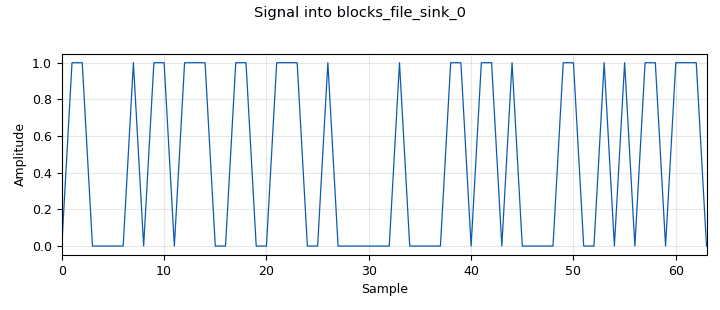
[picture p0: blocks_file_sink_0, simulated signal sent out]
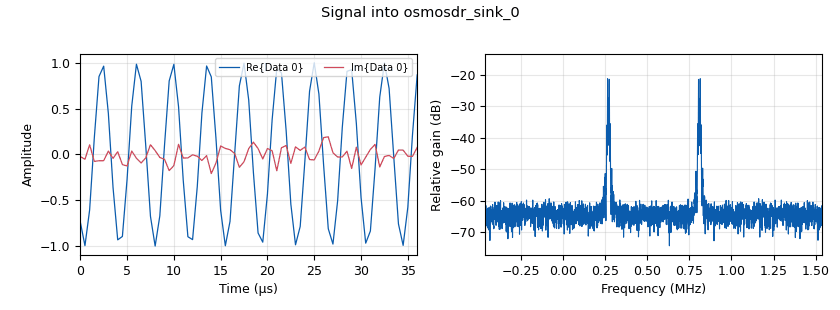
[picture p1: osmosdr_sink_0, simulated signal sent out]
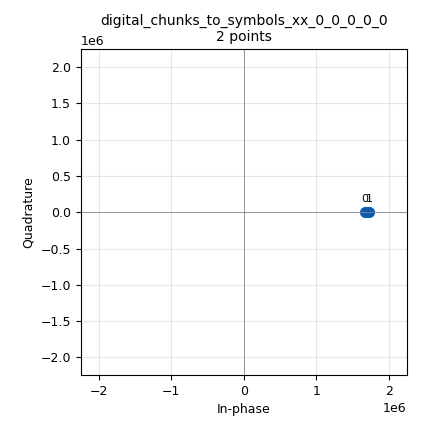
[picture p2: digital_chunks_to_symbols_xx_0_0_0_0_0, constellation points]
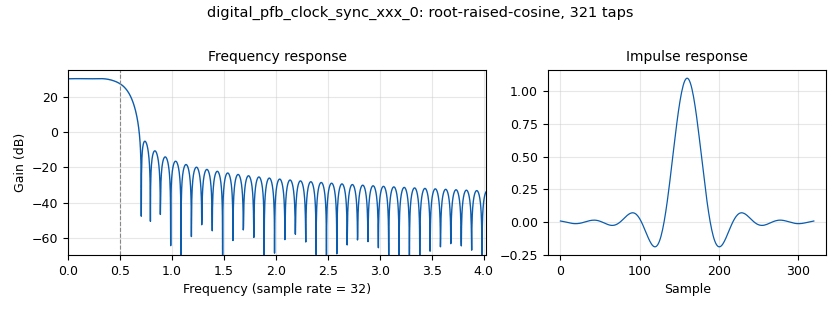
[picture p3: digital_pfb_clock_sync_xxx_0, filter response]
<?xml version='1.0' encoding='utf-8'?>
<?grc format='1' created='3.7.11'?>
<flow_graph>
<block>
<key>options</key>
<param><key>id</key><value>MSK_hackrf3</value></param>
<param><key>generate_options</key><value>qt_gui</value></param>
</block>
<block>
<key>variable</key>
<param><key>id</key><value>EBW</value></param>
<param><key>value</key><value>0.35</value></param>
</block>
<block>
<key>variable_rrc_filter_taps</key>
<param><key>id</key><value>RRC_filter_taps</value></param>
<param><key>comment</key><value>Root raised cosine definition.</value></param>
<param><key>alpha</key><value>EBW</value></param>
<param><key>gain</key><value>nfilts</value></param>
<param><key>ntaps</key><value>5*SPS*nfilts/RX_decimation</value></param>
<param><key>samp_rate</key><value>nfilts</value></param>
<param><key>sym_rate</key><value>1.0</value></param>
</block>
<block>
<key>variable</key>
<param><key>id</key><value>RX_decimation</value></param>
<param><key>comment</key><value>receiver
decimation 
factor</value></param>
<param><key>value</key><value>100</value></param>
</block>
<block>
<key>variable</key>
<param><key>id</key><value>SPS</value></param>
<param><key>comment</key><value>Samples 
per signal</value></param>
<param><key>value</key><value>int(samp_rate/fsk_deviation_hz/4)*int(index_num)</value></param>
</block>
<block>
<key>variable</key>
<param><key>id</key><value>carrier_freq</value></param>
<param><key>comment</key><value>Audio carrier frequency</value></param>
<param><key>value</key><value>270e3</value></param>
</block>
<block>
<key>variable</key>
<param><key>id</key><value>fsk_deviation_hz</value></param>
<param><key>comment</key><value>Frequency deviation of 
GFSK modulation</value></param>
<param><key>value</key><value>0.5e4</value></param>
</block>
<block>
<key>variable</key>
<param><key>id</key><value>index_num</value></param>
<param><key>value</key><value>2</value></param>
</block>
<block>
<key>variable</key>
<param><key>id</key><value>message</value></param>
<param><key>value</key><value>"This is the FSK test developed By Yifang Chen"</value></param>
</block>
<block>
<key>variable</key>
<param><key>id</key><value>nfilts</value></param>
<param><key>value</key><value>32</value></param>
</block>
<block>
<key>variable</key>
<param><key>id</key><value>noise_amp</value></param>
<param><key>value</key><value>0.1</value></param>
</block>
<block>
<key>variable_qtgui_range</key>
<param><key>id</key><value>offset_freq</value></param>
<param><key>value</key><value>5050</value></param>
<param><key>orient</key><value>Qt.Horizontal</value></param>
<param><key>start</key><value>-20e3</value></param>
<param><key>step</key><value>1e3</value></param>
<param><key>stop</key><value>20e3</value></param>
</block>
<block>
<key>variable</key>
<param><key>id</key><value>samp_rate</value></param>
<param><key>comment</key><value>Sample rate - 
determines BW
of transmitter and receiver.
This should be larger
than BW of signal itself.</value></param>
<param><key>value</key><value>2e6</value></param>
</block>
<block>
<key>analog_feedforward_agc_cc</key>
<param><key>id</key><value>analog_feedforward_agc_cc_0</value></param>
<param><key>comment</key><value>Optional 
AGC</value></param>
<param><key>num_samples</key><value>1024</value></param>
<param><key>reference</key><value>1.0</value></param>
</block>
<block>
<key>analog_noise_source_x</key>
<param><key>id</key><value>analog_noise_source_x_0</value></param>
<param><key>amp</key><value>noise_amp</value></param>
<param><key>noise_type</key><value>analog.GR_GAUSSIAN</value></param>
<param><key>type</key><value>float</value></param>
<param><key>seed</key><value>0</value></param>
</block>
<block>
<key>analog_pwr_squelch_xx</key>
<param><key>id</key><value>analog_pwr_squelch_xx_0_0</value></param>
<param><key>alpha</key><value>.01</value></param>
<param><key>comment</key><value>Optional power
squelch</value></param>
<param><key>gate</key><value>True</value></param>
<param><key>ramp</key><value>0</value></param>
<param><key>threshold</key><value>-60</value></param>
<param><key>type</key><value>complex</value></param>
</block>
<block>
<key>analog_quadrature_demod_cf</key>
<param><key>id</key><value>analog_quadrature_demod_cf_0</value></param>
<param><key>comment</key><value>FSK demod</value></param>
<param><key>gain</key><value>samp_rate/(2*math.pi*fsk_deviation_hz/8.0)/(RX_decimation)</value></param>
</block>
<block>
<key>analog_sig_source_x</key>
<param><key>id</key><value>analog_sig_source_x_0</value></param>
<param><key>amp</key><value>1</value></param>
<param><key>freq</key><value>-carrier_freq+offset_freq*0</value></param>
<param><key>offset</key><value>0</value></param>
<param><key>type</key><value>complex</value></param>
<param><key>samp_rate</key><value>samp_rate</value></param>
<param><key>waveform</key><value>analog.GR_COS_WAVE</value></param>
</block>
<block>
<key>blocks_file_sink</key>
<param><key>id</key><value>blocks_file_sink_0</value></param>
<param><key>file</key><value>test_in</value></param>
<param><key>type</key><value>byte</value></param>
</block>
<block>
<key>blocks_file_sink</key>
<param><key>id</key><value>blocks_file_sink_0_0</value></param>
<param><key>file</key><value>test_out</value></param>
<param><key>type</key><value>byte</value></param>
</block>
<block>
<key>blocks_float_to_complex</key>
<param><key>id</key><value>blocks_float_to_complex_0</value></param>
</block>
<block>
<key>blocks_head</key>
<param><key>id</key><value>blocks_head_0</value></param>
<param><key>num_items</key><value>len(message)*8*20</value></param>
<param><key>type</key><value>byte</value></param>
</block>
<block>
<key>blocks_head</key>
<param><key>id</key><value>blocks_head_0_0</value></param>
<param><key>num_items</key><value>len(message)*8*20</value></param>
<param><key>type</key><value>byte</value></param>
</block>
<block>
<key>blocks_message_debug</key>
<param><key>id</key><value>blocks_message_debug_0_0</value></param>
<param><key>comment</key><value>Display the message that was sent.</value></param>
</block>
<block>
<key>blocks_message_strobe</key>
<param><key>id</key><value>blocks_message_strobe_0</value></param>
<param><key>msg</key><value>pmt.intern(message)</value></param>
<param><key>period</key><value>1000</value></param>
</block>
<block>
<key>blocks_multiply_xx</key>
<param><key>id</key><value>blocks_multiply_xx_1</value></param>
<param><key>comment</key><value>Perform frequency 
translation (down convert)</value></param>
<param><key>type</key><value>complex</value></param>
</block>
<block>
<key>blocks_pdu_to_tagged_stream</key>
<param><key>id</key><value>blocks_pdu_to_tagged_stream_1</value></param>
<param><key>type</key><value>byte</value></param>
<param><key>tag</key><value>len_key</value></param>
</block>
<block>
<key>blocks_repack_bits_bb</key>
<param><key>id</key><value>blocks_repack_bits_bb_0</value></param>
<param><key>k</key><value>8</value></param>
<param><key>l</key><value>1</value></param>
<param><key>endianness</key><value>gr.GR_MSB_FIRST</value></param>
<param><key>len_tag_key</key><value>len_key</value></param>
</block>
<block>
<key>blocks_repack_bits_bb</key>
<param><key>id</key><value>blocks_repack_bits_bb_0_0</value></param>
<param><key>k</key><value>8</value></param>
<param><key>l</key><value>1</value></param>
<param><key>endianness</key><value>gr.GR_MSB_FIRST</value></param>
<param><key>len_tag_key</key><value>len_key</value></param>
</block>
<block>
<key>blocks_repack_bits_bb</key>
<param><key>id</key><value>blocks_repack_bits_bb_0_0_0_0</value></param>
<param><key>k</key><value>1</value></param>
<param><key>l</key><value>8</value></param>
<param><key>comment</key><value>Tagged Stream to PDU block up ahead needs packed bytes</value></param>
<param><key>endianness</key><value>gr.GR_MSB_FIRST</value></param>
<param><key>len_tag_key</key><value>len_key2</value></param>
</block>
<block>
<key>blocks_repeat</key>
<param><key>id</key><value>blocks_repeat_0_0_0_0</value></param>
<param><key>comment</key><value>Establish number of
samples per symbol</value></param>
<param><key>interp</key><value>SPS-1</value></param>
<param><key>type</key><value>float</value></param>
</block>
<block>
<key>blocks_stream_to_tagged_stream</key>
<param><key>id</key><value>blocks_stream_to_tagged_stream_0</value></param>
<param><key>comment</key><value>Determine length 
of preamble.</value></param>
<param><key>len_tag_key</key><value>len_key</value></param>
<param><key>packet_len</key><value>200</value></param>
<param><key>type</key><value>byte</value></param>
</block>
<block>
<key>blocks_tagged_stream_mux</key>
<param><key>id</key><value>blocks_tagged_stream_mux_0</value></param>
<param><key>comment</key><value>Append header to payload</value></param>
<param><key>type</key><value>byte</value></param>
<param><key>lengthtagname</key><value>len_key</value></param>
<param><key>ninputs</key><value>2</value></param>
</block>
<block>
<key>blocks_tagged_stream_mux</key>
<param><key>id</key><value>blocks_tagged_stream_mux_1</value></param>
<param><key>comment</key><value>Append preamble to
main message.</value></param>
<param><key>type</key><value>byte</value></param>
<param><key>lengthtagname</key><value>len_key</value></param>
<param><key>ninputs</key><value>2</value></param>
</block>
<block>
<key>blocks_tagged_stream_to_pdu</key>
<param><key>id</key><value>blocks_tagged_stream_to_pdu_0_0</value></param>
<param><key>type</key><value>byte</value></param>
<param><key>tag</key><value>len_key2</value></param>
</block>
<block>
<key>blocks_throttle</key>
<param><key>id</key><value>blocks_throttle_1</value></param>
<param><key>samples_per_second</key><value>samp_rate</value></param>
<param><key>type</key><value>complex</value></param>
</block>
<block>
<key>blocks_vco_f</key>
<param><key>id</key><value>blocks_vco_f_0_0_0_0</value></param>
<param><key>amplitude</key><value>1</value></param>
<param><key>comment</key><value>FSK modulation</value></param>
<param><key>samp_rate</key><value>samp_rate</value></param>
<param><key>sensitivity</key><value>1</value></param>
</block>
<block>
<key>blocks_vector_source_x</key>
<param><key>id</key><value>blocks_vector_source_x_0</value></param>
<param><key>comment</key><value>Create 1,0,1,0,...
repeate preamble</value></param>
<param><key>type</key><value>byte</value></param>
<param><key>repeat</key><value>True</value></param>
<param><key>vector</key><value>(1,0)</value></param>
</block>
<block>
<key>digital_binary_slicer_fb</key>
<param><key>id</key><value>digital_binary_slicer_fb_0</value></param>
</block>
<block>
<key>digital_chunks_to_symbols_xx</key>
<param><key>id</key><value>digital_chunks_to_symbols_xx_0_0_0_0_0</value></param>
<param><key>comment</key><value>Binary 1's and 0's to symbols.</value></param>
<param><key>dimension</key><value>1</value></param>
<param><key>in_type</key><value>byte</value></param>
<param><key>out_type</key><value>float</value></param>
<param><key>symbol_table</key><value>(2*3.14*carrier_freq-2*3.14*fsk_deviation_hz,2*3.14*carrier_freq+2*3.14*fsk_deviation_hz)</value></param>
</block>
<block>
<key>digital_correlate_access_code_xx_ts</key>
<param><key>id</key><value>digital_correlate_access_code_xx_ts_1_0_0</value></param>
<param><key>access_code</key><value>digital.packet_utils.default_access_code</value></param>
<param><key>comment</key><value>Correlates with access code to extract the payload.</value></param>
<param><key>type</key><value>byte</value></param>
<param><key>tagname</key><value>len_key2</value></param>
<param><key>threshold</key><value>10</value></param>
</block>
<block>
<key>digital_pfb_clock_sync_xxx</key>
<param><key>id</key><value>digital_pfb_clock_sync_xxx_0</value></param>
<param><key>comment</key><value>Clock sync</value></param>
<param><key>filter_size</key><value>nfilts</value></param>
<param><key>init_phase</key><value>nfilts/2</value></param>
<param><key>loop_bw</key><value>6.28/400.0*2/70</value></param>
<param><key>max_dev</key><value>2</value></param>
<param><key>osps</key><value>1</value></param>
<param><key>sps</key><value>SPS/RX_decimation</value></param>
<param><key>taps</key><value>RRC_filter_taps</value></param>
<param><key>type</key><value>fff</value></param>
</block>
<block>
<key>digital_protocol_formatter_bb</key>
<param><key>id</key><value>digital_protocol_formatter_bb_0</value></param>
<param><key>comment</key><value>Generate header</value></param>
<param><key>format</key><value>hdr_format</value></param>
<param><key>len_tag_key</key><value>len_key</value></param>
</block>
<block>
<key>epy_block</key>
<param><key>id</key><value>epy_block_0</value></param>
<param><key>_source_code</key><value>"""
Embedded Python Blocks:

Each time this file is saved, GRC will instantiate the first class it finds
to get ports and parameters of your block. The arguments to __init__  will
be the parameters. All of them are required to have default values!
"""

import numpy as np
from gnuradio import gr
import pmt


class msg_block(gr.basic_block):  # other base classes are basic_block, decim_block, interp_block
    """Convert strings to uint8 vectors"""

    def __init__(self):  # only default arguments here
        """arguments to this function show up as parameters in GRC"""
        gr.basic_block.__init__(
            self,
            name='Embedded Python Block',   # will show up in GRC
            in_sig=None,
            out_sig=None
        )
        self.message_port_register_out(pmt.intern('msg_out'))
        self.message_port_register_in(pmt.intern('msg_in'))
        self.set_msg_handler(pmt.intern('msg_in'), self.handle_msg)
    
    def handle_msg(self, msg):
    
        nvec = pmt.to_python(msg)

        self.message_port_pub(pmt.intern('msg_out'), pmt.cons(pmt.make_dict(), pmt.pmt_to_python.numpy_to_uvector(np.array([ord(c) for c in nvec], np.uint8))))
    
    
    def work(self, input_items, output_items):
        pass
</value></param>
<param><key>comment</key><value>Convert strings from previous block
to uint8 vectors</value></param>
</block>
<block>
<key>parameter</key>
<param><key>id</key><value>hdr_format</value></param>
<param><key>comment</key><value>Header format definition</value></param>
<param><key>label</key><value>Header Formatter</value></param>
<param><key>value</key><value>digital.header_format_default(digital.packet_utils.default_access_code, 0)</value></param>
</block>
<block>
<key>import</key>
<param><key>id</key><value>import_0</value></param>
<param><key>comment</key><value>Custom Embedded
Python Block uses 
this library.</value></param>
<param><key>import</key><value>import numpy</value></param>
</block>
<block>
<key>osmosdr_sink</key>
<param><key>id</key><value>osmosdr_sink_0</value></param>
<param><key>bb_gain0</key><value>16</value></param>
<param><key>freq0</key><value>carrier_freq*2</value></param>
<param><key>if_gain0</key><value>16</value></param>
<param><key>gain0</key><value>1</value></param>
<param><key>args</key><value>hackrf=232a2c5f</value></param>
<param><key>type</key><value>fc32</value></param>
<param><key>sample_rate</key><value>samp_rate</value></param>
<param><key>sync</key><value></value></param>
</block>
<block>
<key>osmosdr_source</key>
<param><key>id</key><value>osmosdr_source_0</value></param>
<param><key>bb_gain0</key><value>16</value></param>
<param><key>freq0</key><value>carrier_freq*2</value></param>
<param><key>gain_mode0</key><value>False</value></param>
<param><key>if_gain0</key><value>16</value></param>
<param><key>gain0</key><value>1</value></param>
<param><key>args</key><value>hackrf=2226255f</value></param>
<param><key>type</key><value>fc32</value></param>
<param><key>sample_rate</key><value>samp_rate</value></param>
<param><key>sync</key><value></value></param>
</block>
<block>
<key>qtgui_freq_sink_x</key>
<param><key>id</key><value>qtgui_freq_sink_x_0</value></param>
<param><key>bw</key><value>samp_rate</value></param>
<param><key>fc</key><value>0</value></param>
<param><key>fftsize</key><value>1024</value></param>
<param><key>showports</key><value>True</value></param>
<param><key>type</key><value>complex</value></param>
<param><key>wintype</key><value>firdes.WIN_BLACKMAN_hARRIS</value></param>
</block>
<block>
<key>rational_resampler_xxx</key>
<param><key>id</key><value>rational_resampler_xxx_0_0</value></param>
<param><key>decim</key><value>RX_decimation</value></param>
<param><key>interp</key><value>1</value></param>
<param><key>taps</key><value></value></param>
<param><key>type</key><value>ccc</value></param>
</block>
<connection><source_block_id>analog_feedforward_agc_cc_0</source_block_id><sink_block_id>analog_quadrature_demod_cf_0</sink_block_id><source_key>0</source_key><sink_key>0</sink_key></connection>
<connection><source_block_id>analog_noise_source_x_0</source_block_id><sink_block_id>blocks_float_to_complex_0</sink_block_id><source_key>0</source_key><sink_key>1</sink_key></connection>
<connection><source_block_id>analog_pwr_squelch_xx_0_0</source_block_id><sink_block_id>analog_feedforward_agc_cc_0</sink_block_id><source_key>0</source_key><sink_key>0</sink_key></connection>
<connection><source_block_id>analog_quadrature_demod_cf_0</source_block_id><sink_block_id>digital_pfb_clock_sync_xxx_0</sink_block_id><source_key>0</source_key><sink_key>0</sink_key></connection>
<connection><source_block_id>analog_sig_source_x_0</source_block_id><sink_block_id>blocks_throttle_1</sink_block_id><source_key>0</source_key><sink_key>0</sink_key></connection>
<connection><source_block_id>blocks_float_to_complex_0</source_block_id><sink_block_id>osmosdr_sink_0</sink_block_id><source_key>0</source_key><sink_key>0</sink_key></connection>
<connection><source_block_id>blocks_head_0</source_block_id><sink_block_id>blocks_file_sink_0</sink_block_id><source_key>0</source_key><sink_key>0</sink_key></connection>
<connection><source_block_id>blocks_head_0_0</source_block_id><sink_block_id>blocks_file_sink_0_0</sink_block_id><source_key>0</source_key><sink_key>0</sink_key></connection>
<connection><source_block_id>blocks_message_strobe_0</source_block_id><sink_block_id>epy_block_0</sink_block_id><source_key>strobe</source_key><sink_key>msg_in</sink_key></connection>
<connection><source_block_id>blocks_multiply_xx_1</source_block_id><sink_block_id>rational_resampler_xxx_0_0</sink_block_id><source_key>0</source_key><sink_key>0</sink_key></connection>
<connection><source_block_id>blocks_pdu_to_tagged_stream_1</source_block_id><sink_block_id>blocks_repack_bits_bb_0_0</sink_block_id><source_key>0</source_key><sink_key>0</sink_key></connection>
<connection><source_block_id>blocks_pdu_to_tagged_stream_1</source_block_id><sink_block_id>blocks_tagged_stream_mux_0</sink_block_id><source_key>0</source_key><sink_key>1</sink_key></connection>
<connection><source_block_id>blocks_pdu_to_tagged_stream_1</source_block_id><sink_block_id>digital_protocol_formatter_bb_0</sink_block_id><source_key>0</source_key><sink_key>0</sink_key></connection>
<connection><source_block_id>blocks_repack_bits_bb_0</source_block_id><sink_block_id>blocks_tagged_stream_mux_1</sink_block_id><source_key>0</source_key><sink_key>1</sink_key></connection>
<connection><source_block_id>blocks_repack_bits_bb_0_0</source_block_id><sink_block_id>blocks_head_0</sink_block_id><source_key>0</source_key><sink_key>0</sink_key></connection>
<connection><source_block_id>blocks_repack_bits_bb_0_0_0_0</source_block_id><sink_block_id>blocks_tagged_stream_to_pdu_0_0</sink_block_id><source_key>0</source_key><sink_key>0</sink_key></connection>
<connection><source_block_id>blocks_repeat_0_0_0_0</source_block_id><sink_block_id>blocks_vco_f_0_0_0_0</sink_block_id><source_key>0</source_key><sink_key>0</sink_key></connection>
<connection><source_block_id>blocks_stream_to_tagged_stream_0</source_block_id><sink_block_id>blocks_tagged_stream_mux_1</sink_block_id><source_key>0</source_key><sink_key>0</sink_key></connection>
<connection><source_block_id>blocks_tagged_stream_mux_0</source_block_id><sink_block_id>blocks_repack_bits_bb_0</sink_block_id><source_key>0</source_key><sink_key>0</sink_key></connection>
<connection><source_block_id>blocks_tagged_stream_mux_1</source_block_id><sink_block_id>digital_chunks_to_symbols_xx_0_0_0_0_0</sink_block_id><source_key>0</source_key><sink_key>0</sink_key></connection>
<connection><source_block_id>blocks_tagged_stream_to_pdu_0_0</source_block_id><sink_block_id>blocks_message_debug_0_0</sink_block_id><source_key>pdus</source_key><sink_key>print</sink_key></connection>
<connection><source_block_id>blocks_throttle_1</source_block_id><sink_block_id>blocks_multiply_xx_1</sink_block_id><source_key>0</source_key><sink_key>1</sink_key></connection>
<connection><source_block_id>blocks_vco_f_0_0_0_0</source_block_id><sink_block_id>blocks_float_to_complex_0</sink_block_id><source_key>0</source_key><sink_key>0</sink_key></connection>
<connection><source_block_id>blocks_vector_source_x_0</source_block_id><sink_block_id>blocks_stream_to_tagged_stream_0</sink_block_id><source_key>0</source_key><sink_key>0</sink_key></connection>
<connection><source_block_id>digital_binary_slicer_fb_0</source_block_id><sink_block_id>digital_correlate_access_code_xx_ts_1_0_0</sink_block_id><source_key>0</source_key><sink_key>0</sink_key></connection>
<connection><source_block_id>digital_chunks_to_symbols_xx_0_0_0_0_0</source_block_id><sink_block_id>blocks_repeat_0_0_0_0</sink_block_id><source_key>0</source_key><sink_key>0</sink_key></connection>
<connection><source_block_id>digital_correlate_access_code_xx_ts_1_0_0</source_block_id><sink_block_id>blocks_head_0_0</sink_block_id><source_key>0</source_key><sink_key>0</sink_key></connection>
<connection><source_block_id>digital_correlate_access_code_xx_ts_1_0_0</source_block_id><sink_block_id>blocks_repack_bits_bb_0_0_0_0</sink_block_id><source_key>0</source_key><sink_key>0</sink_key></connection>
<connection><source_block_id>digital_pfb_clock_sync_xxx_0</source_block_id><sink_block_id>digital_binary_slicer_fb_0</sink_block_id><source_key>0</source_key><sink_key>0</sink_key></connection>
<connection><source_block_id>digital_protocol_formatter_bb_0</source_block_id><sink_block_id>blocks_tagged_stream_mux_0</sink_block_id><source_key>0</source_key><sink_key>0</sink_key></connection>
<connection><source_block_id>epy_block_0</source_block_id><sink_block_id>blocks_pdu_to_tagged_stream_1</sink_block_id><source_key>msg_out</source_key><sink_key>pdus</sink_key></connection>
<connection><source_block_id>osmosdr_source_0</source_block_id><sink_block_id>blocks_multiply_xx_1</sink_block_id><source_key>0</source_key><sink_key>0</sink_key></connection>
<connection><source_block_id>rational_resampler_xxx_0_0</source_block_id><sink_block_id>analog_pwr_squelch_xx_0_0</sink_block_id><source_key>0</source_key><sink_key>0</sink_key></connection>
<connection><source_block_id>rational_resampler_xxx_0_0</source_block_id><sink_block_id>qtgui_freq_sink_x_0</sink_block_id><source_key>0</source_key><sink_key>0</sink_key></connection>
</flow_graph>
